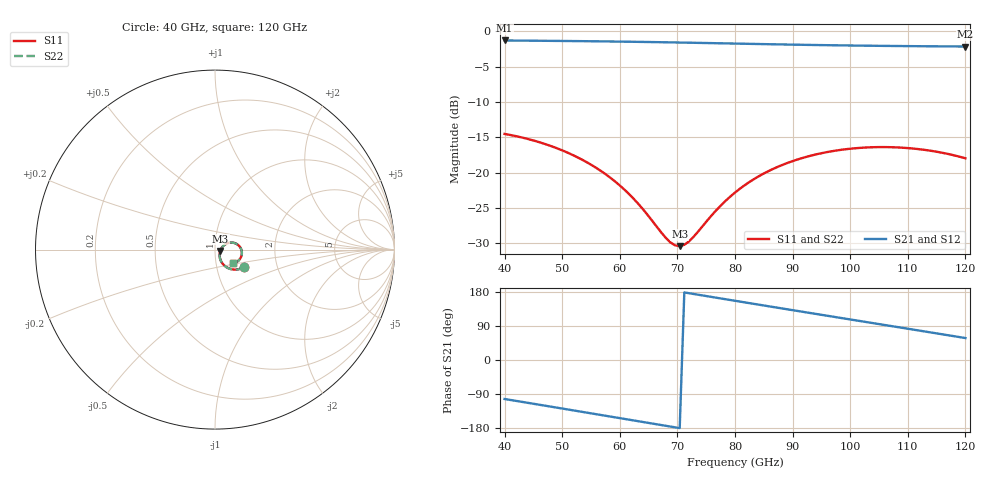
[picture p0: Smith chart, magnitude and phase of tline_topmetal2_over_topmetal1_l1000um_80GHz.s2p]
#  GHZ S DB R 50
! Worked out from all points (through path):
!   101 points, 40 GHz to 120 GHz, reference 50 ohm
!   highest |S21| = -1.29 dB at 40 GHz (marker M1); lowest = -2.1 dB at 120 GHz (marker M2)
!   group delay of S21, straight-line fit = 6.92 ps
!   lowest |S11| = -30.4 dB at 70.4 GHz (marker M3), VSWR 1.06, Z = 53 - j0.857 ohm
!   |S11| at or under -10 dB: start of sweep to end of sweep
!   |S22| runs from -30.5 to -14.5 dB; largest |S21 - S12| = 9.9e-14
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40  -14.53 -30.8  -1.29 -102.9  -1.29 -102.9  -14.53 -30.9
46.4  -15.79 -43.2  -1.34 -119.0  -1.34 -119.0  -15.79 -43.3
49.6  -16.72 -49.0  -1.36 -127.1  -1.36 -127.1  -16.72 -49.1
53.6  -18.24 -55.5  -1.39 -137.2  -1.39 -137.2  -18.24 -55.7
57.6  -20.27 -60.5  -1.43 -147.3  -1.43 -147.3  -20.28 -60.7
60.8  -22.41 -62.3  -1.46 -155.4  -1.46 -155.4  -22.42 -62.6
64  -25.18 -59.8  -1.50 -163.5  -1.50 -163.5  -25.19 -60.1
67.2  -28.49 -46.9  -1.54 -171.6  -1.54 -171.6  -28.53 -47.2
68.8  -29.90 -33.4  -1.56 -175.7  -1.56 -175.7  -29.96 -33.6
70.4  -30.43 -15.6  -1.58 -179.7  -1.58 -179.7  -30.50 -15.7
72  -29.76 1.6  -1.61 176.3  -1.61 176.3  -29.82 1.6
76.8  -25.29 25.2  -1.68 164.3  -1.68 164.3  -25.32 25.3
80  -22.83 27.3  -1.73 156.3  -1.73 156.3  -22.85 27.3
83.2  -20.98 25.4  -1.78 148.3  -1.78 148.3  -20.98 25.4
86.4  -19.57 21.7  -1.83 140.4  -1.83 140.4  -19.57 21.7
89.6  -18.49 17.0  -1.88 132.5  -1.88 132.5  -18.50 16.9
93.6  -17.52 10.3  -1.93 122.7  -1.93 122.7  -17.52 10.3
97.6  -16.88 3.3  -1.98 112.9  -1.98 112.9  -16.88 3.2
100.8  -16.56 -2.6  -2.01 105.1  -2.01 105.1  -16.57 -2.7
107.2  -16.41 -14.3  -2.07 89.4  -2.07 89.4  -16.41 -14.5
113.6  -16.86 -25.9  -2.11 73.7  -2.11 73.7  -16.87 -26.2
120  -17.98 -36.7  -2.15 57.9  -2.15 57.9  -17.99 -37.1
